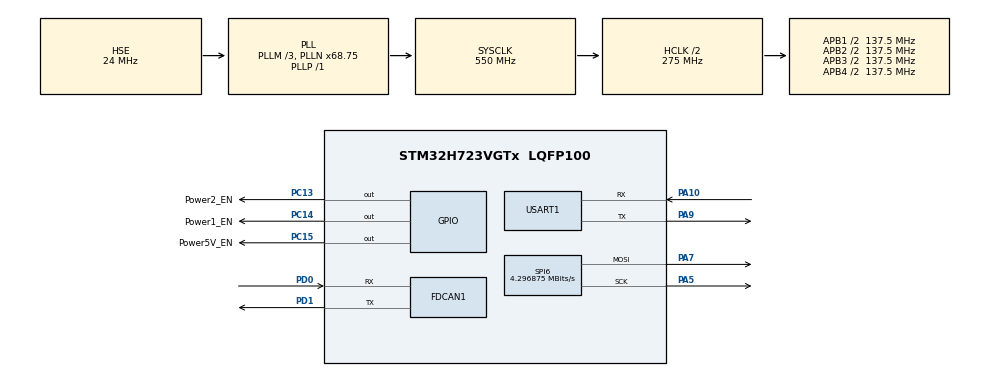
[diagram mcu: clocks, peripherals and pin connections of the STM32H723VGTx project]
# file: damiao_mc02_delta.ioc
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CORTEX_M7.CPU_DCache=Enabled
CORTEX_M7.CPU_ICache=Enabled
CORTEX_M7.MPU_Control=__NULL
CORTEX_M7.default_mode_Activation=0
Dma.Request0=USART1_RX
Dma.Request1=USART1_TX
Dma.USART1_RX.0.Direction=DMA_PERIPH_TO_MEMORY
Dma.USART1_RX.0.EventEnable=DISABLE
Dma.USART1_RX.0.FIFOMode=DMA_FIFOMODE_DISABLE
Dma.USART1_RX.0.Instance=DMA1_Stream0
Dma.USART1_RX.0.MemDataAlignment=DMA_MDATAALIGN_BYTE
Dma.USART1_RX.0.MemInc=DMA_MINC_ENABLE
Dma.USART1_RX.0.Mode=DMA_NORMAL
Dma.USART1_RX.0.PeriphDataAlignment=DMA_PDATAALIGN_BYTE
Dma.USART1_RX.0.PeriphInc=DMA_PINC_DISABLE
Dma.USART1_RX.0.Polarity=HAL_DMAMUX_REQ_GEN_RISING
Dma.USART1_RX.0.Priority=DMA_PRIORITY_LOW
Dma.USART1_RX.0.RequestNumber=1
Dma.USART1_RX.0.SignalID=NONE
Dma.USART1_RX.0.SyncEnable=DISABLE
Dma.USART1_RX.0.SyncPolarity=HAL_DMAMUX_SYNC_NO_EVENT
Dma.USART1_RX.0.SyncRequestNumber=1
Dma.USART1_RX.0.SyncSignalID=NONE
Dma.USART1_TX.1.Direction=DMA_MEMORY_TO_PERIPH
Dma.USART1_TX.1.EventEnable=DISABLE
Dma.USART1_TX.1.FIFOMode=DMA_FIFOMODE_DISABLE
Dma.USART1_TX.1.Instance=DMA1_Stream1
Dma.USART1_TX.1.MemDataAlignment=DMA_MDATAALIGN_BYTE
Dma.USART1_TX.1.MemInc=DMA_MINC_ENABLE
Dma.USART1_TX.1.Mode=DMA_NORMAL
Dma.USART1_TX.1.PeriphDataAlignment=DMA_PDATAALIGN_BYTE
Dma.USART1_TX.1.PeriphInc=DMA_PINC_DISABLE
Dma.USART1_TX.1.Polarity=HAL_DMAMUX_REQ_GEN_RISING
Dma.USART1_TX.1.Priority=DMA_PRIORITY_LOW
Dma.USART1_TX.1.RequestNumber=1
Dma.USART1_TX.1.SignalID=NONE
Dma.USART1_TX.1.SyncEnable=DISABLE
Dma.USART1_TX.1.SyncPolarity=HAL_DMAMUX_SYNC_NO_EVENT
Dma.USART1_TX.1.SyncRequestNumber=1
Dma.USART1_TX.1.SyncSignalID=NONE
FDCAN1.AutoRetransmission=ENABLE
FDCAN1.CalculateBaudRateNominal=1000000
FDCAN1.CalculateTimeBitNominal=1000
FDCAN1.CalculateTimeQuantumNominal=83.33333333333333
FDCAN1.DataPrescaler=2
FDCAN1.DataTimeSeg1=8
FDCAN1.DataTimeSeg2=3
FDCAN1.NominalPrescaler=2
FDCAN1.NominalTimeSeg1=8
FDCAN1.NominalTimeSeg2=3
FDCAN1.RxFifo0ElmtsNbr=32
FDCAN1.StdFiltersNbr=64
FDCAN1.TxFifoQueueElmtsNbr=32
Mcu.Family=STM32H7
Mcu.Name=STM32H723VGTx
Mcu.Package=LQFP100
NVIC.DMA1_Stream0_IRQn=true\:0\:0\:false\:false\:true\:false\:true\:true
NVIC.DMA1_Stream1_IRQn=true\:0\:0\:false\:false\:true\:false\:true\:true
NVIC.FDCAN1_IT0_IRQn=true\:10\:0\:true\:false\:true\:true\:true\:true
NVIC.PriorityGroup=NVIC_PRIORITYGROUP_4
NVIC.TIM6_DAC_IRQn=true\:10\:0\:true\:false\:true\:true\:true\:true
NVIC.USART1_IRQn=true\:12\:0\:true\:false\:true\:true\:true\:true
PA10.Mode=Asynchronous
PA10.Signal=USART1_RX
PA5.Mode=TX_Only_Simplex_Unidirect_Master
PA5.Signal=SPI6_SCK
PA7.Mode=TX_Only_Simplex_Unidirect_Master
PA7.Signal=SPI6_MOSI
PA9.Mode=Asynchronous
PA9.Signal=USART1_TX
PC13.GPIO_Label=Power2_EN
PC13.PinState=GPIO_PIN_RESET
PC13.Signal=GPIO_Output
PC14-OSC32_IN.GPIO_Label=Power1_EN
PC14-OSC32_IN.Signal=GPIO_Output
PC15-OSC32_OUT.GPIO_Label=Power5V_EN
PC15-OSC32_OUT.Signal=GPIO_Output
PD0.GPIO_Speed=GPIO_SPEED_FREQ_HIGH
PD0.Mode=FDCAN_Activate
PD0.Signal=FDCAN1_RX
PD1.GPIO_Speed=GPIO_SPEED_FREQ_HIGH
PD1.Mode=FDCAN_Activate
PD1.Signal=FDCAN1_TX
PD12.Signal=FDCAN3_RX
PH0-OSC_IN.Mode=HSE-External-Oscillator
PH0-OSC_IN.Signal=RCC_OSC_IN
PH1-OSC_OUT.Mode=HSE-External-Oscillator
PH1-OSC_OUT.Signal=RCC_OSC_OUT
ProjectManager.HeapSize=0x200
ProjectManager.StackSize=0x400
ProjectManager.TargetToolchain=STM32CubeIDE
RCC.ADCFreq_Value=48375000
RCC.APB1Freq_Value=137500000
RCC.APB2Freq_Value=137500000
RCC.APB3Freq_Value=137500000
RCC.APB4Freq_Value=137500000
RCC.CortexFreq_Value=550000000
RCC.D1PPRE=RCC_APB3_DIV2
RCC.D2PPRE1=RCC_APB1_DIV2
RCC.D2PPRE2=RCC_APB2_DIV2
RCC.D3PPRE=RCC_APB4_DIV2
RCC.DIVM1=3
RCC.DIVN1=68
RCC.DIVP1=1
RCC.FDCANCLockSelection=RCC_FDCANCLKSOURCE_HSE
RCC.HCLKFreq_Value=275000000
RCC.HPRE=RCC_HCLK_DIV2
RCC.HSE_VALUE=24000000
RCC.PLL2FRACN=0
RCC.PLL3FRACN=0
RCC.PLLFRACN=6144
RCC.PLLSourceVirtual=RCC_PLLSOURCE_HSE
RCC.SYSCLKFreq_VALUE=550000000
RCC.SYSCLKSource=RCC_SYSCLKSOURCE_PLLCLK
RCC.USBFreq_Value=275000000
SPI6.BaudRatePrescaler=SPI_BAUDRATEPRESCALER_32
SPI6.CLKPhase=SPI_PHASE_2EDGE
SPI6.CalculateBaudRate=4.296875 MBits/s
SPI6.DataSize=SPI_DATASIZE_8BIT
SPI6.Direction=SPI_DIRECTION_2LINES_TXONLY
SPI6.Mode=SPI_MODE_MASTER
SPI6.VirtualType=VM_MASTER
TIM6.AutoReloadPreload=TIM_AUTORELOAD_PRELOAD_ENABLE
TIM6.Period=1000-1
TIM6.Prescaler=275-1
USART1.VirtualMode-Asynchronous=VM_ASYNC
VP_TIM6_VS_ClockSourceINT.Mode=Enable_Timer
board=custom

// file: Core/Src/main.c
/* USER CODE BEGIN Header */
/**
  ******************************************************************************
  * @file           : main.c
  * @brief          : Main program body
  ******************************************************************************
  * @attention
  *
  * Copyright (c) 2025 STMicroelectronics.
  * All rights reserved.
  *
  * This software is licensed under terms that can be found in the LICENSE file
  * in the root directory of this software component.
  * If no LICENSE file comes with this software, it is provided AS-IS.
  *
  ******************************************************************************
  */
/* USER CODE END Header */
#include "main.h"

FDCAN_HandleTypeDef hfdcan1;

SPI_HandleTypeDef hspi6;

TIM_HandleTypeDef htim6;

UART_HandleTypeDef huart1;
DMA_HandleTypeDef hdma_usart1_rx;
DMA_HandleTypeDef hdma_usart1_tx;

void SystemClock_Config(void);
static void MX_GPIO_Init(void);
static void MX_DMA_Init(void);
static void MX_SPI6_Init(void);
static void MX_TIM6_Init(void);
static void MX_USART1_UART_Init(void);
static void MX_FDCAN1_Init(void);

/* USER CODE BEGIN 0 */
extern void startUpTask();
/* USER CODE END 0 */

int main(void)
{
/* Enable the CPU Cache */

  /* Enable I-Cache---------------------------------------------------------*/
  SCB_EnableICache();

  /* Enable D-Cache---------------------------------------------------------*/
  SCB_EnableDCache();

  /* MCU Configuration--------------------------------------------------------*/

  /* Reset of all peripherals, Initializes the Flash interface and the Systick. */
  HAL_Init();

  /* Configure the system clock */
  SystemClock_Config();

  /* Initialize all configured peripherals */
  MX_GPIO_Init();
  MX_DMA_Init();
  MX_SPI6_Init();
  MX_TIM6_Init();
  MX_USART1_UART_Init();
  MX_FDCAN1_Init();
  /* USER CODE BEGIN 2 */
  startUpTask();
  /* USER CODE END 2 */

  /* Infinite loop */
  /* USER CODE BEGIN WHILE */
#if 0
  while (1)
  {
#endif
    /* USER CODE END WHILE */

    /* USER CODE BEGIN 3 */
#if 0
  }
#endif
  /* USER CODE END 3 */
}

void SystemClock_Config(void)
{
  RCC_OscInitTypeDef RCC_OscInitStruct = {0};
  RCC_ClkInitTypeDef RCC_ClkInitStruct = {0};

  /** Supply configuration update enable
  */
  HAL_PWREx_ConfigSupply(PWR_LDO_SUPPLY);

  /** Configure the main internal regulator output voltage
  */
  __HAL_PWR_VOLTAGESCALING_CONFIG(PWR_REGULATOR_VOLTAGE_SCALE0);

  while(!__HAL_PWR_GET_FLAG(PWR_FLAG_VOSRDY)) {}

  /** Initializes the RCC Oscillators according to the specified parameters
  * in the RCC_OscInitTypeDef structure.
  */
  RCC_OscInitStruct.OscillatorType = RCC_OSCILLATORTYPE_HSE;
  RCC_OscInitStruct.HSEState = RCC_HSE_ON;
  RCC_OscInitStruct.PLL.PLLState = RCC_PLL_ON;
  RCC_OscInitStruct.PLL.PLLSource = RCC_PLLSOURCE_HSE;
  RCC_OscInitStruct.PLL.PLLM = 3;
  RCC_OscInitStruct.PLL.PLLN = 68;
  RCC_OscInitStruct.PLL.PLLP = 1;
  RCC_OscInitStruct.PLL.PLLQ = 2;
  RCC_OscInitStruct.PLL.PLLR = 2;
  RCC_OscInitStruct.PLL.PLLRGE = RCC_PLL1VCIRANGE_3;
  RCC_OscInitStruct.PLL.PLLVCOSEL = RCC_PLL1VCOWIDE;
  RCC_OscInitStruct.PLL.PLLFRACN = 6144;
  if (HAL_RCC_OscConfig(&RCC_OscInitStruct) != HAL_OK)
  {
    Error_Handler();
  }

  /** Initializes the CPU, AHB and APB buses clocks
  */
  RCC_ClkInitStruct.ClockType = RCC_CLOCKTYPE_HCLK|RCC_CLOCKTYPE_SYSCLK
                              |RCC_CLOCKTYPE_PCLK1|RCC_CLOCKTYPE_PCLK2
                              |RCC_CLOCKTYPE_D3PCLK1|RCC_CLOCKTYPE_D1PCLK1;
  RCC_ClkInitStruct.SYSCLKSource = RCC_SYSCLKSOURCE_PLLCLK;
  RCC_ClkInitStruct.SYSCLKDivider = RCC_SYSCLK_DIV1;
  RCC_ClkInitStruct.AHBCLKDivider = RCC_HCLK_DIV2;
  RCC_ClkInitStruct.APB3CLKDivider = RCC_APB3_DIV2;
  RCC_ClkInitStruct.APB1CLKDivider = RCC_APB1_DIV2;
  RCC_ClkInitStruct.APB2CLKDivider = RCC_APB2_DIV2;
  RCC_ClkInitStruct.APB4CLKDivider = RCC_APB4_DIV2;

  if (HAL_RCC_ClockConfig(&RCC_ClkInitStruct, FLASH_LATENCY_3) != HAL_OK)
  {
    Error_Handler();
  }
}

static void MX_FDCAN1_Init(void)
{

  hfdcan1.Instance = FDCAN1;
  hfdcan1.Init.FrameFormat = FDCAN_FRAME_CLASSIC;
  hfdcan1.Init.Mode = FDCAN_MODE_NORMAL;
  hfdcan1.Init.AutoRetransmission = ENABLE;
  hfdcan1.Init.TransmitPause = DISABLE;
  hfdcan1.Init.ProtocolException = DISABLE;
  hfdcan1.Init.NominalPrescaler = 2;
  hfdcan1.Init.NominalSyncJumpWidth = 1;
  hfdcan1.Init.NominalTimeSeg1 = 8;
  hfdcan1.Init.NominalTimeSeg2 = 3;
  hfdcan1.Init.DataPrescaler = 2;
  hfdcan1.Init.DataSyncJumpWidth = 1;
  hfdcan1.Init.DataTimeSeg1 = 8;
  hfdcan1.Init.DataTimeSeg2 = 3;
  hfdcan1.Init.MessageRAMOffset = 0;
  hfdcan1.Init.StdFiltersNbr = 64;
  hfdcan1.Init.ExtFiltersNbr = 0;
  hfdcan1.Init.RxFifo0ElmtsNbr = 32;
  hfdcan1.Init.RxFifo0ElmtSize = FDCAN_DATA_BYTES_8;
  hfdcan1.Init.RxFifo1ElmtsNbr = 0;
  hfdcan1.Init.RxFifo1ElmtSize = FDCAN_DATA_BYTES_8;
  hfdcan1.Init.RxBuffersNbr = 0;
  hfdcan1.Init.RxBufferSize = FDCAN_DATA_BYTES_8;
  hfdcan1.Init.TxEventsNbr = 0;
  hfdcan1.Init.TxBuffersNbr = 0;
  hfdcan1.Init.TxFifoQueueElmtsNbr = 32;
  hfdcan1.Init.TxFifoQueueMode = FDCAN_TX_FIFO_OPERATION;
  hfdcan1.Init.TxElmtSize = FDCAN_DATA_BYTES_8;
  if (HAL_FDCAN_Init(&hfdcan1) != HAL_OK)
  {
    Error_Handler();
  }
  /* USER CODE BEGIN FDCAN1_Init 2 */
	FDCAN_FilterTypeDef fdcan_filterconfig;
	fdcan_filterconfig.IdType = FDCAN_STANDARD_ID;
	fdcan_filterconfig.FilterIndex = 0;
	fdcan_filterconfig.FilterType = FDCAN_FILTER_RANGE;
	fdcan_filterconfig.FilterConfig = FDCAN_FILTER_TO_RXFIFO0;
	fdcan_filterconfig.FilterID1 = 0x205;
	fdcan_filterconfig.FilterID2 = 0x207;
	if (HAL_FDCAN_ConfigFilter(&hfdcan1, &fdcan_filterconfig) != HAL_OK)
	{
		Error_Handler();
	}

	if (HAL_FDCAN_ConfigGlobalFilter(&hfdcan1, FDCAN_REJECT,
	  FDCAN_REJECT, FDCAN_FILTER_REMOTE, FDCAN_FILTER_REMOTE) != HAL_OK)
	{
		Error_Handler();
	}

	HAL_FDCAN_ActivateNotification(&hfdcan1, FDCAN_IT_RX_FIFO0_NEW_MESSAGE, 0);
	HAL_FDCAN_Start(&hfdcan1);
  /* USER CODE END FDCAN1_Init 2 */

}

static void MX_SPI6_Init(void)
{

  /* SPI6 parameter configuration*/
  hspi6.Instance = SPI6;
  hspi6.Init.Mode = SPI_MODE_MASTER;
  hspi6.Init.Direction = SPI_DIRECTION_2LINES_TXONLY;
  hspi6.Init.DataSize = SPI_DATASIZE_8BIT;
  hspi6.Init.CLKPolarity = SPI_POLARITY_LOW;
  hspi6.Init.CLKPhase = SPI_PHASE_2EDGE;
  hspi6.Init.NSS = SPI_NSS_SOFT;
  hspi6.Init.BaudRatePrescaler = SPI_BAUDRATEPRESCALER_32;
  hspi6.Init.FirstBit = SPI_FIRSTBIT_MSB;
  hspi6.Init.TIMode = SPI_TIMODE_DISABLE;
  hspi6.Init.CRCCalculation = SPI_CRCCALCULATION_DISABLE;
  hspi6.Init.CRCPolynomial = 0x0;
  hspi6.Init.NSSPMode = SPI_NSS_PULSE_ENABLE;
  hspi6.Init.NSSPolarity = SPI_NSS_POLARITY_LOW;
  hspi6.Init.FifoThreshold = SPI_FIFO_THRESHOLD_01DATA;
  hspi6.Init.TxCRCInitializationPattern = SPI_CRC_INITIALIZATION_ALL_ZERO_PATTERN;
  hspi6.Init.RxCRCInitializationPattern = SPI_CRC_INITIALIZATION_ALL_ZERO_PATTERN;
  hspi6.Init.MasterSSIdleness = SPI_MASTER_SS_IDLENESS_00CYCLE;
  hspi6.Init.MasterInterDataIdleness = SPI_MASTER_INTERDATA_IDLENESS_00CYCLE;
  hspi6.Init.MasterReceiverAutoSusp = SPI_MASTER_RX_AUTOSUSP_DISABLE;
  hspi6.Init.MasterKeepIOState = SPI_MASTER_KEEP_IO_STATE_DISABLE;
  hspi6.Init.IOSwap = SPI_IO_SWAP_DISABLE;
  if (HAL_SPI_Init(&hspi6) != HAL_OK)
  {
    Error_Handler();
  }

}

static void MX_TIM6_Init(void)
{

  TIM_MasterConfigTypeDef sMasterConfig = {0};

  htim6.Instance = TIM6;
  htim6.Init.Prescaler = 275-1;
  htim6.Init.CounterMode = TIM_COUNTERMODE_UP;
  htim6.Init.Period = 1000-1;
  htim6.Init.AutoReloadPreload = TIM_AUTORELOAD_PRELOAD_ENABLE;
  if (HAL_TIM_Base_Init(&htim6) != HAL_OK)
  {
    Error_Handler();
  }
  sMasterConfig.MasterOutputTrigger = TIM_TRGO_RESET;
  sMasterConfig.MasterSlaveMode = TIM_MASTERSLAVEMODE_DISABLE;
  if (HAL_TIMEx_MasterConfigSynchronization(&htim6, &sMasterConfig) != HAL_OK)
  {
    Error_Handler();
  }
  /* USER CODE BEGIN TIM6_Init 2 */
  HAL_TIM_Base_Start_IT(&htim6);
  /* USER CODE END TIM6_Init 2 */

}

static void MX_USART1_UART_Init(void)
{

  huart1.Instance = USART1;
  huart1.Init.BaudRate = 115200;
  huart1.Init.WordLength = UART_WORDLENGTH_8B;
  huart1.Init.StopBits = UART_STOPBITS_1;
  huart1.Init.Parity = UART_PARITY_NONE;
  huart1.Init.Mode = UART_MODE_TX_RX;
  huart1.Init.HwFlowCtl = UART_HWCONTROL_NONE;
  huart1.Init.OverSampling = UART_OVERSAMPLING_16;
  huart1.Init.OneBitSampling = UART_ONE_BIT_SAMPLE_DISABLE;
  huart1.Init.ClockPrescaler = UART_PRESCALER_DIV1;
  huart1.AdvancedInit.AdvFeatureInit = UART_ADVFEATURE_NO_INIT;
  if (HAL_UART_Init(&huart1) != HAL_OK)
  {
    Error_Handler();
  }
  if (HAL_UARTEx_SetTxFifoThreshold(&huart1, UART_TXFIFO_THRESHOLD_1_8) != HAL_OK)
  {
    Error_Handler();
  }
  if (HAL_UARTEx_SetRxFifoThreshold(&huart1, UART_RXFIFO_THRESHOLD_1_8) != HAL_OK)
  {
    Error_Handler();
  }
  if (HAL_UARTEx_DisableFifoMode(&huart1) != HAL_OK)
  {
    Error_Handler();
  }

}

static void MX_DMA_Init(void)
{

  /* DMA controller clock enable */
  __HAL_RCC_DMA1_CLK_ENABLE();

  /* DMA interrupt init */
  /* DMA1_Stream0_IRQn interrupt configuration */
  HAL_NVIC_SetPriority(DMA1_Stream0_IRQn, 0, 0);
  HAL_NVIC_EnableIRQ(DMA1_Stream0_IRQn);
  /* DMA1_Stream1_IRQn interrupt configuration */
  HAL_NVIC_SetPriority(DMA1_Stream1_IRQn, 0, 0);
  HAL_NVIC_EnableIRQ(DMA1_Stream1_IRQn);

}

static void MX_GPIO_Init(void)
{
  GPIO_InitTypeDef GPIO_InitStruct = {0};

  /* GPIO Ports Clock Enable */
  __HAL_RCC_GPIOC_CLK_ENABLE();
  __HAL_RCC_GPIOH_CLK_ENABLE();
  __HAL_RCC_GPIOA_CLK_ENABLE();
  __HAL_RCC_GPIOD_CLK_ENABLE();

  /*Configure GPIO pin Output Level */
  HAL_GPIO_WritePin(GPIOC, Power2_EN_Pin|Power1_EN_Pin|Power5V_EN_Pin, GPIO_PIN_RESET);

  /*Configure GPIO pins : Power2_EN_Pin Power1_EN_Pin Power5V_EN_Pin */
  GPIO_InitStruct.Pin = Power2_EN_Pin|Power1_EN_Pin|Power5V_EN_Pin;
  GPIO_InitStruct.Mode = GPIO_MODE_OUTPUT_PP;
  GPIO_InitStruct.Pull = GPIO_NOPULL;
  GPIO_InitStruct.Speed = GPIO_SPEED_FREQ_LOW;
  HAL_GPIO_Init(GPIOC, &GPIO_InitStruct);

  /*Configure GPIO pin : PD12 */
  GPIO_InitStruct.Pin = GPIO_PIN_12;
  GPIO_InitStruct.Mode = GPIO_MODE_AF_PP;
  GPIO_InitStruct.Pull = GPIO_NOPULL;
  GPIO_InitStruct.Speed = GPIO_SPEED_FREQ_LOW;
  GPIO_InitStruct.Alternate = GPIO_AF5_FDCAN3;
  HAL_GPIO_Init(GPIOD, &GPIO_InitStruct);

}

void Error_Handler(void)
{
  __disable_irq();
  while (1)
  {
  }
}
